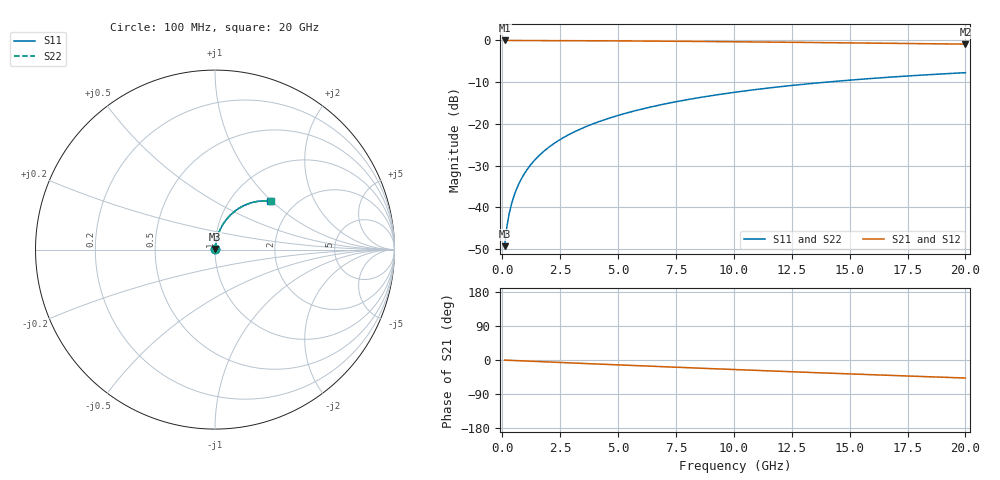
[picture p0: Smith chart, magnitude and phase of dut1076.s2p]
! Touchstone file exported from HFSS 2026.1.0
!  File:  C:/ffzhzh/LocalFiles/Ansys_Project_Files/temp_train_BSMRDL_1076_1783174350_43440.aedt
!  Generated:  10:13:52 PM Jul  4, 2026
!  Design:  BSMRDL
!  Project:  temp_train_BSMRDL_1076_1783174350_43440
! Variables:
!  h_bsmrdl = 5.63um
!  h_ox = 20um
!  h_rdl = 5um
!  h_sub = 80um
!  h_tmrdl = 5um
!  h_tsv = 80um
!  h_via = 3um
!  l_bsmrdl = 716.54um
!  l_sub = 1116.54um
!  l_tmrdl = 200um
!  m_sub = 200um
!  pitch = 58.05um
!  r_tsv = 6um
!  s_tmrdl = 10um
!  w_bsmrdl = 25.96um
!  w_sub = 500um
!  w_tmrdl = 12um
!  x_tsv_center1 = 206um
!  x_tsv_center2 = 948.5um
!  x_tsv_center3 = 1160.5um
!  x_tsv_center4 = 1903um
!  x_tsv_center5 = 2115um
!  x_tsv_center6 = 2857.5um
# GHz S MA R 50.000000
! Terminal data exported
! Port[1] = BSM_RDL1_1_T1
! Port[2] = BSM_RDL1_1_T2
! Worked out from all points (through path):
!   200 points, 100 MHz to 20 GHz, reference 50 ohm
!   highest |S21| = -0.02 dB at 100 MHz (marker M1); lowest = -0.9 dB at 20 GHz (marker M2)
!   group delay of S21, straight-line fit = 6.61 ps
!   lowest |S11| = -49.3 dB at 100 MHz (marker M3), VSWR 1.01, Z = 50.2 + j0.283 ohm
!   |S11| at or under -10 dB: start of sweep to 14 GHz
!   |S22| runs from -49.3 to -7.7 dB; largest |S21 - S12| = 3e-14
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0.1  0.003427 55.5  0.9981 -0.3  0.9981 -0.3  0.003427 55.5
! Gamma 0 0 0 0
! Port Impedance 50 0 50 0
0.2  0.005918 68.8  0.9979 -0.5  0.9979 -0.5  0.005918 68.8
0.3  0.008458 74.1  0.9978 -0.8  0.9978 -0.8  0.008458 74.1
0.4  0.01101 76.9  0.9977 -1.1  0.9977 -1.1  0.01101 76.9
0.5  0.01357 78.6  0.9976 -1.3  0.9976 -1.3  0.01357 78.6
0.7  0.01872 80.6  0.9974 -1.9  0.9974 -1.9  0.01872 80.6
0.8  0.02131 81.1  0.9973 -2.1  0.9973 -2.1  0.02131 81.1
1  0.02649 81.7  0.9971 -2.6  0.9971 -2.6  0.02649 81.7
1.2  0.03167 81.9  0.9968 -3.2  0.9968 -3.2  0.03167 81.9
1.4  0.03683 81.8  0.9965 -3.7  0.9965 -3.7  0.03683 81.8
1.7  0.04456 81.6  0.9959 -4.5  0.9959 -4.5  0.04456 81.6
2  0.05223 81.1  0.9953 -5.2  0.9953 -5.2  0.05223 81.1
2.7  0.06995 79.8  0.9937 -7.0  0.9937 -7.0  0.06995 79.8
3.5  0.08984 78.0  0.9914 -9.1  0.9914 -9.1  0.08984 78.0
4.2  0.1069 76.4  0.9892 -10.9  0.9892 -10.9  0.1069 76.4
5  0.1262 74.6  0.9864 -12.9  0.9864 -12.9  0.1262 74.5
6.8  0.1682 70.4  0.9791 -17.4  0.9791 -17.4  0.1682 70.4
8.3  0.2019 66.9  0.9721 -21.0  0.9721 -21.0  0.2019 66.9
10.1  0.2404 62.7  0.9627 -25.4  0.9627 -25.4  0.2404 62.7
13.4  0.3053 55.3  0.9435 -33.1  0.9435 -33.1  0.3053 55.3
16.7  0.3621 48.1  0.9228 -40.5  0.9228 -40.5  0.3621 48.0
20  0.4105 41.1  0.9022 -47.6  0.9022 -47.6  0.4105 41.1
